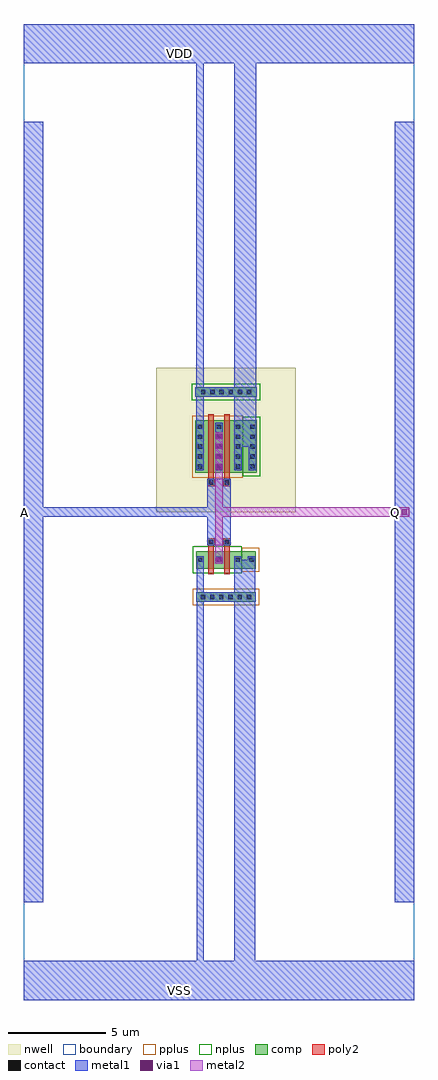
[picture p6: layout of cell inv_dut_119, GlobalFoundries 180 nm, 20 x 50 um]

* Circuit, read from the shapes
.subckt inv_dut_119 A Q VDD VSS
XM1 Q A VSS VSS nfet_03v3 w=0.9u l=0.3u m=2
XM2 Q A VDD VDD pfet_03v3 w=2.7u l=0.3u m=2
.ends

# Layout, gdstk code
import gdstk
lib = gdstk.Library(unit=1e-6, precision=1e-09)
def R(c, l, rs):  # rectangles x0, y0, x1, y1
    for r in rs: c.add(gdstk.rectangle(r[:2], r[2:], *l))
def A(c, l, x, y, w, h, nx, ny, dx, dy):  # array of equal rectangles
    R(c, l, [(x+i*dx, y+j*dy, x+i*dx+w, y+j*dy+h) for i in range(nx) for j in range(ny)])
def P(c, l, *ps):  # polygons
    for p in ps: c.add(gdstk.Polygon(p, *l))
boundary = (0, 0)
nwell = (21, 0)
comp = (22, 0)
poly2 = (30, 0)
pplus = (31, 0)
nplus = (32, 0)
contact = (33, 0)
metal1 = (34, 0)
via1 = (35, 0)
metal2 = (36, 0)

inv_dut_119 = lib.new_cell('inv_dut_119')
R(inv_dut_119, boundary, [(-10,-25,10,25)])
R(inv_dut_119, nwell, [(-3.21,0,3.94,7.4), (-2.07,0.63,2.8,5.69)])
R(inv_dut_119, comp, [(-1.17,-4.6,1.88,-4.1), (-1.17,-2.9,1.88,-2), (-1.21,2,1.94,4.7), (-1.21,5.9,1.94,6.4)])
P(inv_dut_119, poly2, [(-0.6,1.32),(-0.6,1.7),(-0.56,1.7),(-0.56,5),(-0.26,5),(-0.26,1.7),(-0.22,1.7),(-0.22,1.32)],
  [(0.22,1.32),(0.22,1.7),(0.26,1.7),(0.26,5),(0.56,5),(0.56,1.7),(0.6,1.7),(0.6,1.32)],
  [(-0.56,-3.2),(-0.56,-1.7),(-0.59,-1.7),(-0.59,-1.34),(-0.23,-1.34),(-0.23,-1.7),(-0.26,-1.7),(-0.26,-3.2)],
  [(0.26,-3.2),(0.26,-1.7),(0.23,-1.7),(0.23,-1.34),(0.59,-1.34),(0.59,-1.7),(0.56,-1.7),(0.56,-3.2)])
R(inv_dut_119, pplus, [(-1.35,-4.78,2.06,-3.92), (1.17,-3.07,2.05,-1.83), (-1.38,1.76,1.21,4.94)])
R(inv_dut_119, nplus, [(-1.34,-3.14,1.17,-1.76), (1.21,1.83,2.11,4.87), (-1.39,5.72,2.12,6.58)])
A(inv_dut_119, contact, -0.93, -4.46, 0.22, 0.22, 6, 1, 0.47, 0)
A(inv_dut_119, contact, -1.07, -2.56, 0.22, 0.22, 3, 1, 0.96, 0)
A(inv_dut_119, contact, -1.09, 2.22, 0.22, 0.22, 3, 5, 0.98, 0.51)
A(inv_dut_119, contact, 1.6, 2.22, 0.22, 0.22, 1, 5, 0, 0.51)
A(inv_dut_119, contact, -0.92, 6.04, 0.22, 0.22, 6, 1, 0.47, 0)
R(inv_dut_119, contact, [(1.56,-2.56,1.78,-2.34), (-0.52,-1.63,-0.3,-1.41), (0.3,-1.63,0.52,-1.41), (-0.52,1.4,-0.3,1.62), (0.3,1.4,0.52,1.62)])
A(inv_dut_119, metal1, -1.15, -2.64, 0.38, 0.38, 3, 1, 0.96, 0)
A(inv_dut_119, metal1, -1.17, 2.14, 0.38, 2.42, 3, 1, 0.98, 0)
R(inv_dut_119, metal1, [(-10,-25,10,-23), (-1.15,-24,-0.77,-2.45), (0.77,-24,1.86,-2.45), (-10,-20,-9,20), (9,-20,10,20), (-1.17,-4.6,1.88,-4.1), (1.48,-2.64,1.86,-2.26), (-0.6,-1.71,0.6,1.7), (-0.6,-1.71,-0.22,-1.33), (0.22,-1.71,0.6,-1.33), (-9,-0.25,-0.5,0.25), (-0.6,1.32,-0.22,1.7), (0.22,1.32,0.6,1.7), (1.52,2.14,1.9,4.56), (-1.17,3.35,-0.79,24), (0.79,3.35,1.9,24), (-1.21,5.9,1.94,6.4), (-10,23,10,25)])
A(inv_dut_119, via1, -0.13, 2.2, 0.26, 0.26, 1, 4, 0, 0.52)
R(inv_dut_119, via1, [(-0.13,-2.58,0.13,-2.32), (9.37,-0.13,9.63,0.13)])
R(inv_dut_119, metal2, [(-0.19,-2.64,0.19,0.25), (-0.19,-0.25,0.19,4.08), (-0.19,-0.25,9.75,0.25)])
inv_dut_119.add(gdstk.Label('VDD', (-2,23.5), layer=34, texttype=10))
inv_dut_119.add(gdstk.Label('VSS', (-2,-24.5), layer=34, texttype=10))
inv_dut_119.add(gdstk.Label('A', (-9.97,0), layer=34, texttype=10))
inv_dut_119.add(gdstk.Label('Q', (9.03,0), layer=34, texttype=10))

lib.write_gds('inv_dut_119.gds')
